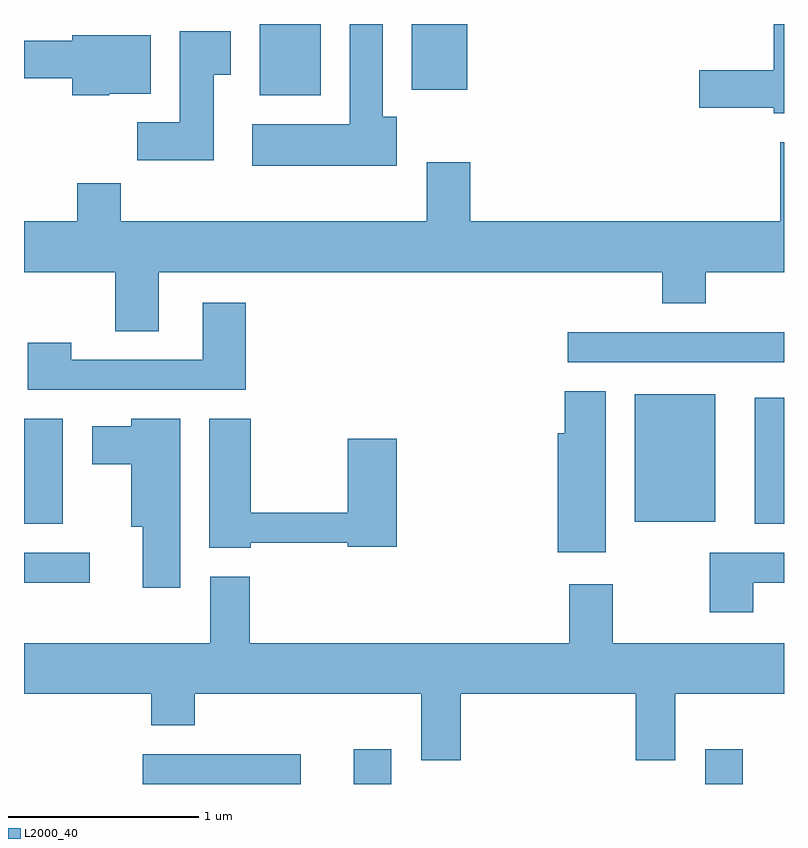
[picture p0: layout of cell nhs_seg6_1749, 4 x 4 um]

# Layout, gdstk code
import gdstk
lib = gdstk.Library(unit=1e-6, precision=1e-09)
def R(c, l, rs):  # rectangles x0, y0, x1, y1
    for r in rs: c.add(gdstk.rectangle(r[:2], r[2:], *l))
def P(c, l, *ps):  # polygons
    for p in ps: c.add(gdstk.Polygon(p, *l))
L2000_40 = (2000, 40)

nhs_seg6_1749 = lib.new_cell('nhs_seg6_1749')
R(nhs_seg6_1749, L2000_40, [(238.236,1616.162,239.068,1616.319), (239.346,1616.162,239.544,1616.344), (241.196,1616.162,241.394,1616.344), (237.611,1617.221,237.958,1617.379), (237.611,1617.531,237.814,1618.084), (241.456,1617.531,241.611,1618.194), (240.826,1617.541,241.249,1618.214), (240.473,1618.381,241.611,1618.539), (238.851,1619.786,239.174,1620.162), (239.651,1619.816,239.944,1620.162)])
P(nhs_seg6_1749, L2000_40, [(239.574,1619.674),(239.499,1619.674),(239.499,1620.162),(239.326,1620.162),(239.326,1619.634),(238.811,1619.634),(238.811,1619.416),(239.574,1619.416)],
  [(241.611,1620.162),(241.556,1620.162),(241.556,1619.919),(241.166,1619.919),(241.166,1619.721),(241.556,1619.721),(241.556,1619.691),(241.611,1619.691)],
  [(238.609,1619.896),(238.699,1619.896),(238.699,1620.124),(238.431,1620.124),(238.431,1619.644),(238.206,1619.644),(238.206,1619.446),(238.609,1619.446)],
  [(238.06,1619.796),(238.279,1619.796),(238.279,1620.104),(237.866,1620.104),(237.866,1620.074),(237.611,1620.074),(237.611,1619.876),(237.866,1619.876),(237.866,1619.786),(238.06,1619.786)],
  [(238.319,1618.856),(240.971,1618.856),(240.971,1618.691),(241.199,1618.691),(241.199,1618.856),(241.611,1618.856),(241.611,1619.539),(241.591,1619.539),(241.591,1619.124),(239.959,1619.124),(239.959,1619.434),(239.731,1619.434),(239.731,1619.124),(238.119,1619.124),(238.119,1619.324),(237.891,1619.324),(237.891,1619.124),(237.611,1619.124),(237.611,1618.856),(238.091,1618.856),(238.091,1618.546),(238.319,1618.546)],
  [(238.779,1618.694),(238.551,1618.694),(238.551,1618.394),(237.859,1618.394),(237.859,1618.484),(237.631,1618.484),(237.631,1618.236),(238.779,1618.236)],
  [(240.674,1618.229),(240.456,1618.229),(240.456,1618.009),(240.421,1618.009),(240.421,1617.381),(240.674,1617.381)],
  [(238.804,1617.431),(239.316,1617.431),(239.316,1617.411),(239.574,1617.411),(239.574,1617.979),(239.316,1617.979),(239.316,1617.589),(238.804,1617.589),(238.804,1618.084),(238.586,1618.084),(238.586,1617.406),(238.804,1617.406)],
  [(238.434,1618.084),(238.176,1618.084),(238.176,1618.044),(237.971,1618.044),(237.971,1617.846),(238.176,1617.846),(238.176,1617.516),(238.236,1617.516),(238.236,1617.196),(238.434,1617.196)],
  [(241.449,1617.221),(241.611,1617.221),(241.611,1617.379),(241.221,1617.379),(241.221,1617.066),(241.449,1617.066)],
  [(240.709,1617.214),(240.481,1617.214),(240.481,1616.904),(238.799,1616.904),(238.799,1617.254),(238.591,1617.254),(238.591,1616.904),(237.611,1616.904),(237.611,1616.636),(238.281,1616.636),(238.281,1616.471),(238.509,1616.471),(238.509,1616.636),(239.701,1616.636),(239.701,1616.286),(239.909,1616.286),(239.909,1616.636),(240.831,1616.636),(240.831,1616.286),(241.039,1616.286),(241.039,1616.636),(241.611,1616.636),(241.611,1616.904),(240.709,1616.904)])

lib.write_gds('nhs_seg6_1749.gds')
